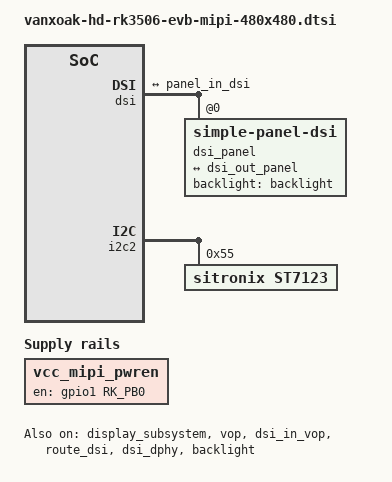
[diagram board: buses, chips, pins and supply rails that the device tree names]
#include <dt-bindings/display/drm_mipi_dsi.h>
#include <dt-bindings/input/rk-input.h>
#include <dt-bindings/suspend/rockchip-rk3506.h>

/ {
	vcc_mipi_pwren: vcc-mipi_pwren-regulator {
		compatible = "regulator-fixed";
		regulator-boot-on;
		regulator-always-on;
		regulator-name = "vcc_mipi_pwren";
		enable-active-high;
		gpio = <&gpio1 RK_PB0 GPIO_ACTIVE_HIGH>;
		pinctrl-name = "default";
		pinctrl-0 = <&mipi_pwren_gpio>;
	};
};

&dsi {
	status = "okay";
	//rockchip,lane-rate = <1000>;
	dsi_panel: panel@0 {
		status = "okay";
		compatible = "simple-panel-dsi";
		reg = <0>;
		backlight = <&backlight>;
		// power-supply = <&vcc3v3_lcd_n>;
		// reset-gpio = <&gpio1 RK_PB0 GPIO_ACTIVE_LOW>;
		reset-delay-ms = <10>;
		enable-delay-ms = <10>;
		prepare-delay-ms = <10>;
		unprepare-delay-ms = <10>;
		disable-delay-ms = <60>;
		//width-mm = <68>;
		//height-mm = <121>;
		dsi,flags = <(MIPI_DSI_MODE_VIDEO | MIPI_DSI_MODE_VIDEO_BURST |
				  MIPI_DSI_MODE_LPM | MIPI_DSI_MODE_NO_EOT_PACKET)>;
		dsi,format = <MIPI_DSI_FMT_RGB888>;
		dsi,lanes  = <2>;

                // 3.95-inch ST7102 (480x480)
		panel-init-sequence = [
			39 00 04 99 71 02 A2
			39 00 04 99 71 02 A3
			39 00 04 99 71 02 A4
			39 00 08 B0 22 61 1E 61 2F 39 39
			39 00 03 B7 46 46
			39 00 03 BF 50 50
			39 00 07 D7 00 0C 80 08 F0 F0
			39 00 21 A3 40 03 80 00 44 00 00 00 00 04 6F 6F 00 1A 00 45 05 00 00 00 00 46 00 00 12 20 52 00 05 00 00 FF
			39 00 2D A6 08 00 24 55 35 00 76 40 58 58 00 24 55 00 00 40 40 58 58 02 AC 51 00 CC 40 40 58 58 00 AC 11 00 00 40 40 58 58 00 00 06 00 00 00 00
			39 00 31 A7 19 19 00 64 40 07 16 40 00 44 43 58 58 00 64 40 25 34 00 00 42 41 58 58 00 64 40 4B 5A 00 00 42 41 58 58 00 24 40 69 78 00 00 40 40 58 58 00 44
			39 00 26 AC 00 1C 04 1A 19 1B 1B 18 06 13 19 11 1B 08 18 0A 01 1C 04 1A 19 01 1B 18 06 12 19 10 1B 09 18 0B BF AA BF AA 00
			39 00 08 AD CC 40 46 11 04 6F 6F
			39 00 0F E8 30 07 05 74 74 9C 00 E2 04 00 00 00 00 EF
			39 00 03 75 03 04
			39 00 22 E7 8B 3C 00 0C F0 5D 00 5D 00 5D 00 5D 00 FF 00 08 7B 00 00 C8 6A 5A 08 1A 3C 00 A1 01 8C 01 7F F0 22
			39 00 0A E9 3C 7F 08 07 1A 7A 22 1A 33
			39 00 26 C8 00 00 15 26 44 00 78 03 BE 06 11 1C 09 8A 03 21 D4 01 11 0F 22 4A 0F 8F 0A 32 F0 0A 41 0D F3 80 0D AE C5 03 C4
			39 00 26 C9 00 00 15 26 44 00 78 03 BE 06 11 1C 09 8A 03 21 D4 01 11 0F 22 4A 0F 8F 0A 32 F0 0A 41 0D F3 80 0D AE C5 03 C4
			05 78 01 11
			05 14 01 29
		];

		disp_timings0: display-timings {
			native-mode = <&dsi_timing0>;
			dsi_timing0: timing0 {
				clock-frequency = <30800000>;//60fps

				hactive = <480>;
				vactive = <480>;

				vsync-len = <4>;
				vback-porch = <8>;
				vfront-porch = <200>;

				hsync-len = <2>;
				hback-porch = <140>;
				hfront-porch = <120>;

				vsync-active = <0>;
				hsync-active = <0>;
				de-active = <0>;
				pixelclk-active = <0>;
			};
		};

		ports {
			#address-cells = <1>;
			#size-cells = <0>;

			port@0 {
				reg = <0>;
				panel_in_dsi: endpoint {
					remote-endpoint = <&dsi_out_panel>;
					status = "okay";
				};
			};
		};
	};

	ports {
		#address-cells = <1>;
		#size-cells = <0>;

		port@1 {
			reg = <1>;
			dsi_out_panel: endpoint {
				remote-endpoint = <&panel_in_dsi>;
			};
		};
	};
};

&display_subsystem {
	status = "okay";
	logo-memory-region = <&drm_logo>;
};

&vop {
	status = "okay";
};

&dsi_in_vop {
	status = "okay";
};

&rgb_in_vop {
	status = "disabled";
};

&route_dsi {
	status = "okay";
	//logo,rotate = <3>;
};

&route_rgb {
	status = "disabled";
};

&dsi_dphy {
	status = "okay";
};

&backlight {
	compatible = "pwm-backlight";
	pwms = <&pwm0_4ch_2 0 10000 0>;
	status = "okay";
};

// TOUCH
&i2c2 {
	status = "okay";
	pinctrl-0 = <&rm_io4_i2c2_scl &rm_io5_i2c2_sda>;

        st7123: st7123@55 {
		status = "okay";
		compatible = "sitronix,st7123";  /* 匹配 st7123_of_match */
		reg = <0x55>;                     /* I2C 设备地址 */
		pinctrl-names = "default";

		touchscreen-size-x = <480>;       /* 匹配 3.95 寸 ST7102 分辨率 */
		touchscreen-size-y = <480>;

		/* 坐标翻转/镜像（按需开启） */
		// touchscreen-inverted-x;
		// touchscreen-inverted-y;
		// touchscreen-swapped-x-y;
	};
};

&pinctrl {
	mipi_lcd{
		mipi_pwren_gpio: mipi_pwren_gpio {
			rockchip,pins = <1 RK_PB0 RK_FUNC_GPIO &pcfg_pull_none>;
		};
	};
};
